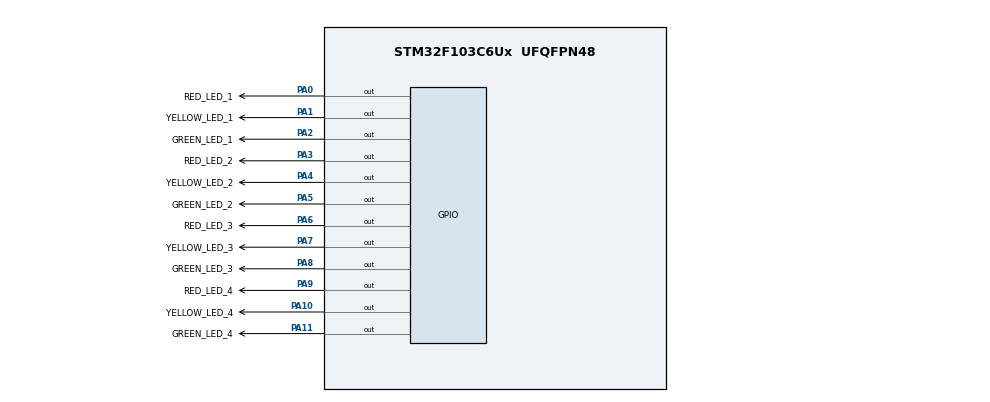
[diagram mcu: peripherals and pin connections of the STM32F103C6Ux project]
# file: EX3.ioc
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Mcu.Family=STM32F1
Mcu.Name=STM32F103C6Ux
Mcu.Package=UFQFPN48
NVIC.PriorityGroup=NVIC_PRIORITYGROUP_4
PA0-WKUP.GPIO_Label=RED_LED_1
PA0-WKUP.Signal=GPIO_Output
PA1.GPIO_Label=YELLOW_LED_1
PA1.Signal=GPIO_Output
PA10.GPIO_Label=YELLOW_LED_4
PA10.Signal=GPIO_Output
PA11.GPIO_Label=GREEN_LED_4
PA11.Signal=GPIO_Output
PA2.GPIO_Label=GREEN_LED_1
PA2.Signal=GPIO_Output
PA3.GPIO_Label=RED_LED_2
PA3.Signal=GPIO_Output
PA4.GPIO_Label=YELLOW_LED_2
PA4.Signal=GPIO_Output
PA5.GPIO_Label=GREEN_LED_2
PA5.Signal=GPIO_Output
PA6.GPIO_Label=RED_LED_3
PA6.Signal=GPIO_Output
PA7.GPIO_Label=YELLOW_LED_3
PA7.Signal=GPIO_Output
PA8.GPIO_Label=GREEN_LED_3
PA8.Signal=GPIO_Output
PA9.GPIO_Label=RED_LED_4
PA9.Signal=GPIO_Output
ProjectManager.HeapSize=0x200
ProjectManager.StackSize=0x400
ProjectManager.TargetToolchain=STM32CubeIDE
RCC.APB1Freq_Value=8000000
RCC.APB2Freq_Value=8000000
VP_SYS_VS_ND.Mode=No_Debug
board=custom

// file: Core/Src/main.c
/* USER CODE BEGIN Header */
/**
  ******************************************************************************
  * @file           : main.c
  * @brief          : Main program body
  ******************************************************************************
  * @attention
  *
  * <h2><center>&copy; Copyright (c) 2025 STMicroelectronics.
  * All rights reserved.</center></h2>
  *
  * This software component is licensed by ST under BSD 3-Clause license,
  * the "License"; You may not use this file except in compliance with the
  * License. You may obtain a copy of the License at:
  *                        opensource.org/licenses/BSD-3-Clause
  *
  ******************************************************************************
  */
/* USER CODE END Header */
#include "main.h"

void SystemClock_Config(void);
static void MX_GPIO_Init(void);

int main(void)
{

  /* MCU Configuration--------------------------------------------------------*/

  /* Reset of all peripherals, Initializes the Flash interface and the Systick. */
  HAL_Init();

  /* Configure the system clock */
  SystemClock_Config();

  /* Initialize all configured peripherals */
  MX_GPIO_Init();

  /* Infinite loop */
  /* USER CODE BEGIN WHILE */
  while (1)
  {
	  // Giai đoạn 1: cụm đèn trên dưới ĐỎ (5s), trái phải XANH (3s) rồi VÀNG (2s) ---
	  // trên dưới ĐỎ
	  HAL_GPIO_WritePin(GPIOA, GPIO_PIN_0, GPIO_PIN_RESET);
	  HAL_GPIO_WritePin(GPIOA, GPIO_PIN_1, GPIO_PIN_SET);
	  HAL_GPIO_WritePin(GPIOA, GPIO_PIN_2, GPIO_PIN_SET);

	  HAL_GPIO_WritePin(GPIOA, GPIO_PIN_6, GPIO_PIN_RESET);
	  HAL_GPIO_WritePin(GPIOA, GPIO_PIN_7, GPIO_PIN_SET);
	  HAL_GPIO_WritePin(GPIOA, GPIO_PIN_8, GPIO_PIN_SET);

	  // trái phải XANH (3s)
	  HAL_GPIO_WritePin(GPIOA, GPIO_PIN_3, GPIO_PIN_SET);
	  HAL_GPIO_WritePin(GPIOA, GPIO_PIN_4, GPIO_PIN_SET);
	  HAL_GPIO_WritePin(GPIOA, GPIO_PIN_5, GPIO_PIN_RESET);

	  HAL_GPIO_WritePin(GPIOA, GPIO_PIN_9, GPIO_PIN_SET);
	  HAL_GPIO_WritePin(GPIOA, GPIO_PIN_10, GPIO_PIN_SET);
	  HAL_GPIO_WritePin(GPIOA, GPIO_PIN_11, GPIO_PIN_RESET);

	  HAL_Delay(3000);

	  // trái phải VÀNG (2s)
	  HAL_GPIO_WritePin(GPIOA, GPIO_PIN_3, GPIO_PIN_SET);
	  HAL_GPIO_WritePin(GPIOA, GPIO_PIN_4, GPIO_PIN_RESET);
      HAL_GPIO_WritePin(GPIOA, GPIO_PIN_5, GPIO_PIN_SET);

	  HAL_GPIO_WritePin(GPIOA, GPIO_PIN_9, GPIO_PIN_SET);
	  HAL_GPIO_WritePin(GPIOA, GPIO_PIN_10, GPIO_PIN_RESET);
	  HAL_GPIO_WritePin(GPIOA, GPIO_PIN_11, GPIO_PIN_SET);

	  HAL_Delay(2000);

	  // Giai đoạn 2: trái phải ĐỎ (5s), trên dưới XANH (3s) rồi VÀNG (2s) ---
      // trái phải ĐỎ
	  HAL_GPIO_WritePin(GPIOA, GPIO_PIN_3, GPIO_PIN_RESET);
	  HAL_GPIO_WritePin(GPIOA, GPIO_PIN_4, GPIO_PIN_SET);
	  HAL_GPIO_WritePin(GPIOA, GPIO_PIN_5, GPIO_PIN_SET);

	  HAL_GPIO_WritePin(GPIOA, GPIO_PIN_9, GPIO_PIN_RESET);
	  HAL_GPIO_WritePin(GPIOA, GPIO_PIN_10, GPIO_PIN_SET);
	  HAL_GPIO_WritePin(GPIOA, GPIO_PIN_11, GPIO_PIN_SET);

	  // trên dưới XANH (3s)
	  HAL_GPIO_WritePin(GPIOA, GPIO_PIN_0, GPIO_PIN_SET);
	  HAL_GPIO_WritePin(GPIOA, GPIO_PIN_1, GPIO_PIN_SET);
	  HAL_GPIO_WritePin(GPIOA, GPIO_PIN_2, GPIO_PIN_RESET);

	  HAL_GPIO_WritePin(GPIOA, GPIO_PIN_6, GPIO_PIN_SET);
	  HAL_GPIO_WritePin(GPIOA, GPIO_PIN_7, GPIO_PIN_SET);
	  HAL_GPIO_WritePin(GPIOA, GPIO_PIN_8, GPIO_PIN_RESET);

	  HAL_Delay(3000);

	  // trên dưới VÀNG (2s)
	  HAL_GPIO_WritePin(GPIOA, GPIO_PIN_0, GPIO_PIN_SET);
	  HAL_GPIO_WritePin(GPIOA, GPIO_PIN_1, GPIO_PIN_RESET);
	  HAL_GPIO_WritePin(GPIOA, GPIO_PIN_2, GPIO_PIN_SET);

	  HAL_GPIO_WritePin(GPIOA, GPIO_PIN_6, GPIO_PIN_SET);
	  HAL_GPIO_WritePin(GPIOA, GPIO_PIN_7, GPIO_PIN_RESET);
	  HAL_GPIO_WritePin(GPIOA, GPIO_PIN_8, GPIO_PIN_SET);

	  HAL_Delay(2000);
    /* USER CODE END WHILE */

  }
}

void SystemClock_Config(void)
{
  RCC_OscInitTypeDef RCC_OscInitStruct = {0};
  RCC_ClkInitTypeDef RCC_ClkInitStruct = {0};

  /** Initializes the RCC Oscillators according to the specified parameters
  * in the RCC_OscInitTypeDef structure.
  */
  RCC_OscInitStruct.OscillatorType = RCC_OSCILLATORTYPE_HSI;
  RCC_OscInitStruct.HSIState = RCC_HSI_ON;
  RCC_OscInitStruct.HSICalibrationValue = RCC_HSICALIBRATION_DEFAULT;
  RCC_OscInitStruct.PLL.PLLState = RCC_PLL_NONE;
  if (HAL_RCC_OscConfig(&RCC_OscInitStruct) != HAL_OK)
  {
    Error_Handler();
  }
  /** Initializes the CPU, AHB and APB buses clocks
  */
  RCC_ClkInitStruct.ClockType = RCC_CLOCKTYPE_HCLK|RCC_CLOCKTYPE_SYSCLK
                              |RCC_CLOCKTYPE_PCLK1|RCC_CLOCKTYPE_PCLK2;
  RCC_ClkInitStruct.SYSCLKSource = RCC_SYSCLKSOURCE_HSI;
  RCC_ClkInitStruct.AHBCLKDivider = RCC_SYSCLK_DIV1;
  RCC_ClkInitStruct.APB1CLKDivider = RCC_HCLK_DIV1;
  RCC_ClkInitStruct.APB2CLKDivider = RCC_HCLK_DIV1;

  if (HAL_RCC_ClockConfig(&RCC_ClkInitStruct, FLASH_LATENCY_0) != HAL_OK)
  {
    Error_Handler();
  }
}

static void MX_GPIO_Init(void)
{
  GPIO_InitTypeDef GPIO_InitStruct = {0};

  /* GPIO Ports Clock Enable */
  __HAL_RCC_GPIOA_CLK_ENABLE();

  /*Configure GPIO pin Output Level */
  HAL_GPIO_WritePin(GPIOA, RED_LED_1_Pin|YELLOW_LED_1_Pin|GREEN_LED_1_Pin|RED_LED_2_Pin
                          |YELLOW_LED_2_Pin|GREEN_LED_2_Pin|RED_LED_3_Pin|YELLOW_LED_3_Pin
                          |GREEN_LED_3_Pin|RED_LED_4_Pin|YELLOW_LED_4_Pin|GREEN_LED_4_Pin, GPIO_PIN_RESET);

  /*Configure GPIO pins : RED_LED_1_Pin YELLOW_LED_1_Pin GREEN_LED_1_Pin RED_LED_2_Pin
                           YELLOW_LED_2_Pin GREEN_LED_2_Pin RED_LED_3_Pin YELLOW_LED_3_Pin
                           GREEN_LED_3_Pin RED_LED_4_Pin YELLOW_LED_4_Pin GREEN_LED_4_Pin */
  GPIO_InitStruct.Pin = RED_LED_1_Pin|YELLOW_LED_1_Pin|GREEN_LED_1_Pin|RED_LED_2_Pin
                          |YELLOW_LED_2_Pin|GREEN_LED_2_Pin|RED_LED_3_Pin|YELLOW_LED_3_Pin
                          |GREEN_LED_3_Pin|RED_LED_4_Pin|YELLOW_LED_4_Pin|GREEN_LED_4_Pin;
  GPIO_InitStruct.Mode = GPIO_MODE_OUTPUT_PP;
  GPIO_InitStruct.Pull = GPIO_NOPULL;
  GPIO_InitStruct.Speed = GPIO_SPEED_FREQ_LOW;
  HAL_GPIO_Init(GPIOA, &GPIO_InitStruct);

}

void Error_Handler(void)
{
  __disable_irq();
  while (1)
  {
  }
}

/************************ (C) COPYRIGHT STMicroelectronics *****END OF FILE****/
